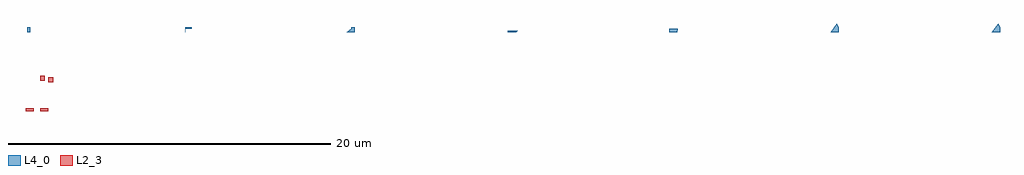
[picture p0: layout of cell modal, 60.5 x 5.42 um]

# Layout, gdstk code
import gdstk
lib = gdstk.Library(unit=1e-6, precision=1e-09)
def R(c, l, rs):  # rectangles x0, y0, x1, y1
    for r in rs: c.add(gdstk.rectangle(r[:2], r[2:], *l))
def P(c, l, *ps):  # polygons
    for p in ps: c.add(gdstk.Polygon(p, *l))
L2_3 = (2, 3)
L4_0 = (4, 0)

modal = lib.new_cell('modal')
R(modal, L2_3, [(0.1,0.1,0.6,0.3), (1,0.1,1.5,0.3), (1.5,1.9,1.8,2.2), (1,2,1.3,2.3)])
P(modal, L4_0, [(0,5),(0.4,5),(0.4,5.3),(0.2,5.3),(0.2,5)],
  [(10,5),(10,5.3),(10.4,5.3),(10.4,5.2),(10,5.2)],
  [(20,5),(20.5,5),(20.5,5.3),(20.3,5.3),(20.3,5.2)],
  [(30,5),(30.5,5),(30.6,5.1),(30,5.1)],
  [(40,5),(40.5,5),(40.537,5.211),(40,5.211)],
  [(50,5),(50.5,5),(50.5,5.3),(50.377,5.523)],
  [(60,5),(60.5,5),(60.5,5.3),(60.377,5.523)])

lib.write_gds('modal.gds')
